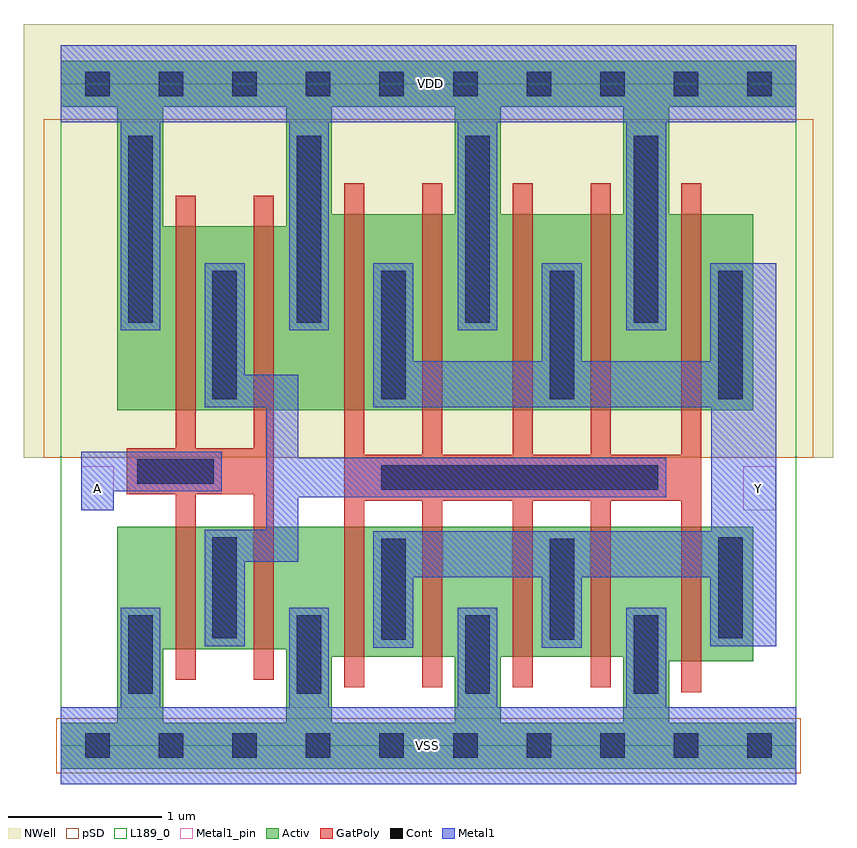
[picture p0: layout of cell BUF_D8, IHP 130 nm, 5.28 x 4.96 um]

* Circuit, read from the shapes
.subckt BUF_D8 A VDD VSS Y
XM1 n1 A VSS VSS sg13_lv_nmos w=0.8u l=0.13u m=2
XM2 Y n1 VSS VSS sg13_lv_nmos w=0.85u l=0.13u m=4
XM3 Y n1 VSS VSS sg13_lv_nmos w=0.88u l=0.13u
XM4 n1 A VDD VDD sg13_lv_pmos w=1.2u l=0.13u m=2
XM5 Y n1 VDD VDD sg13_lv_pmos w=1.28u l=0.13u m=5
.ends

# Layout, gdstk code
import gdstk
lib = gdstk.Library(unit=1e-6, precision=1e-09)
def R(c, l, rs):  # rectangles x0, y0, x1, y1
    for r in rs: c.add(gdstk.rectangle(r[:2], r[2:], *l))
def A(c, l, x, y, w, h, nx, ny, dx, dy):  # array of equal rectangles
    R(c, l, [(x+i*dx, y+j*dy, x+i*dx+w, y+j*dy+h) for i in range(nx) for j in range(ny)])
def P(c, l, *ps):  # polygons
    for p in ps: c.add(gdstk.Polygon(p, *l))
Activ = (1, 0)
GatPoly = (5, 0)
Cont = (6, 0)
Metal1 = (8, 0)
Metal1_pin = (8, 2)
pSD = (14, 0)
NWell = (31, 0)
L189_0 = (189, 0)

buf_d8 = lib.new_cell('BUF_D8')
P(buf_d8, Activ, [(0,-0.15),(0,0.15),(0.37,0.15),(0.67,0.15),(1.47,0.15),(1.77,0.15),(2.57,0.15),(2.87,0.15),(3.67,0.15),(3.67,0.58),(2.87,0.58),(2.87,0.15),(2.57,0.15),(2.57,0.58),(1.77,0.58),(1.77,0.15),(1.47,0.15),(1.47,0.63),(0.67,0.63),(0.67,0.15),(0.37,0.15),(0.37,1.43),(4.52,1.43),(4.52,0.55),(3.97,0.55),(3.97,0.15),(4.8,0.15),(4.8,-0.15)],
  [(0.37,2.19),(0.37,3.39),(0.67,3.39),(1.47,3.39),(1.47,3.47),(1.77,3.47),(2.57,3.47),(2.87,3.47),(3.67,3.47),(3.67,4.17),(2.87,4.17),(2.87,3.47),(2.57,3.47),(2.57,4.17),(1.77,4.17),(1.77,3.47),(1.47,3.47),(1.47,4.17),(0.67,4.17),(0.67,3.39),(0.37,3.39),(0.37,4.17),(0,4.17),(0,4.47),(4.8,4.47),(4.8,4.17),(3.97,4.17),(3.97,3.47),(4.52,3.47),(4.52,2.19)])
P(buf_d8, GatPoly, [(4.05,0.35),(4.05,1.6),(3.59,1.6),(3.59,0.38),(3.46,0.38),(3.46,1.6),(3.08,1.6),(3.08,0.38),(2.95,0.38),(2.95,1.6),(2.49,1.6),(2.49,0.38),(2.36,0.38),(2.36,1.6),(1.98,1.6),(1.98,0.38),(1.85,0.38),(1.85,3.67),(1.98,3.67),(1.98,1.9),(2.36,1.9),(2.36,3.67),(2.49,3.67),(2.49,1.9),(2.95,1.9),(2.95,3.67),(3.08,3.67),(3.08,1.9),(3.46,1.9),(3.46,3.67),(3.59,3.67),(3.59,1.9),(4.05,1.9),(4.05,3.67),(4.18,3.67),(4.18,0.35)],
  [(0.75,0.43),(0.75,1.64),(0.43,1.64),(0.43,1.94),(0.75,1.94),(0.75,3.59),(0.88,3.59),(0.88,1.94),(1.26,1.94),(1.26,3.59),(1.39,3.59),(1.39,0.43),(1.26,0.43),(1.26,1.64),(0.88,1.64),(0.88,0.43)])
A(buf_d8, Cont, 0.16, -0.08, 0.16, 0.16, 10, 2, 0.48, 4.32)
A(buf_d8, Cont, 0.44, 0.34, 0.16, 0.51, 4, 1, 1.1, 0)
A(buf_d8, Cont, 0.99, 2.26, 0.16, 0.84, 4, 1, 1.1, 0)
A(buf_d8, Cont, 0.44, 2.76, 0.16, 1.22, 4, 1, 1.1, 0)
R(buf_d8, Cont, [(2.09,0.69,2.25,1.35), (3.19,0.69,3.35,1.35), (0.99,0.7,1.15,1.36), (4.29,0.7,4.45,1.36), (2.09,1.67,3.9,1.83), (0.5,1.71,1,1.87)])
A(buf_d8, Metal1, 0.39, 2.71, 0.26, 1.36, 3, 1, 1.1, 0)
P(buf_d8, Metal1, [(0.94,0.65),(0.94,1.41),(1.34,1.41),(1.34,2.21),(0.94,2.21),(0.94,3.15),(1.2,3.15),(1.2,2.42),(1.55,2.42),(1.55,1.88),(3.95,1.88),(3.95,1.62),(1.55,1.62),(1.55,1.2),(1.2,1.2),(1.2,0.65)],
  [(3.69,2.71),(3.69,4.07),(0,4.07),(0,4.57),(4.8,4.57),(4.8,4.07),(3.95,4.07),(3.95,2.71)],
  [(2.04,0.64),(2.04,1.4),(4.245,1.4),(4.245,2.21),(2.04,2.21),(2.04,3.15),(2.3,3.15),(2.3,2.51),(3.14,2.51),(3.14,3.15),(3.4,3.15),(3.4,2.51),(4.24,2.51),(4.24,3.15),(4.67,3.15),(4.67,0.65),(4.24,0.65),(4.24,1.1),(3.4,1.1),(3.4,0.64),(3.14,0.64),(3.14,1.1),(2.3,1.1),(2.3,0.64)],
  [(0.135,1.535),(0.135,1.92),(1.05,1.92),(1.05,1.66),(0.345,1.66),(0.345,1.535)],
  [(0,-0.25),(0,0.25),(0.39,0.25),(0.39,0.9),(0.65,0.9),(0.65,0.25),(1.49,0.25),(1.49,0.9),(1.75,0.9),(1.75,0.25),(2.59,0.25),(2.59,0.9),(2.85,0.9),(2.85,0.25),(3.69,0.25),(3.69,0.9),(3.95,0.9),(3.95,0.25),(4.8,0.25),(4.8,-0.25)])
R(buf_d8, Metal1_pin, [(0,-0.25,4.8,0.25), (0.135,1.535,0.345,1.825), (4.455,1.535,4.665,1.825), (0,4.07,4.8,4.57)])
R(buf_d8, pSD, [(-0.03,-0.18,4.83,0.18), (-0.11,1.88,4.91,4.09)])
R(buf_d8, NWell, [(-0.24,1.88,5.04,4.71)])
R(buf_d8, L189_0, [(0,0,4.8,4.32)])
buf_d8.add(gdstk.Label('VSS', (2.395,0), layer=8, texttype=25))
buf_d8.add(gdstk.Label('VDD', (2.41,4.32), layer=8, texttype=25))
buf_d8.add(gdstk.Label('A', (0.24,1.68), layer=8, texttype=25))
buf_d8.add(gdstk.Label('Y', (4.555,1.68), layer=8, texttype=25))

lib.write_gds('BUF_D8.gds')
